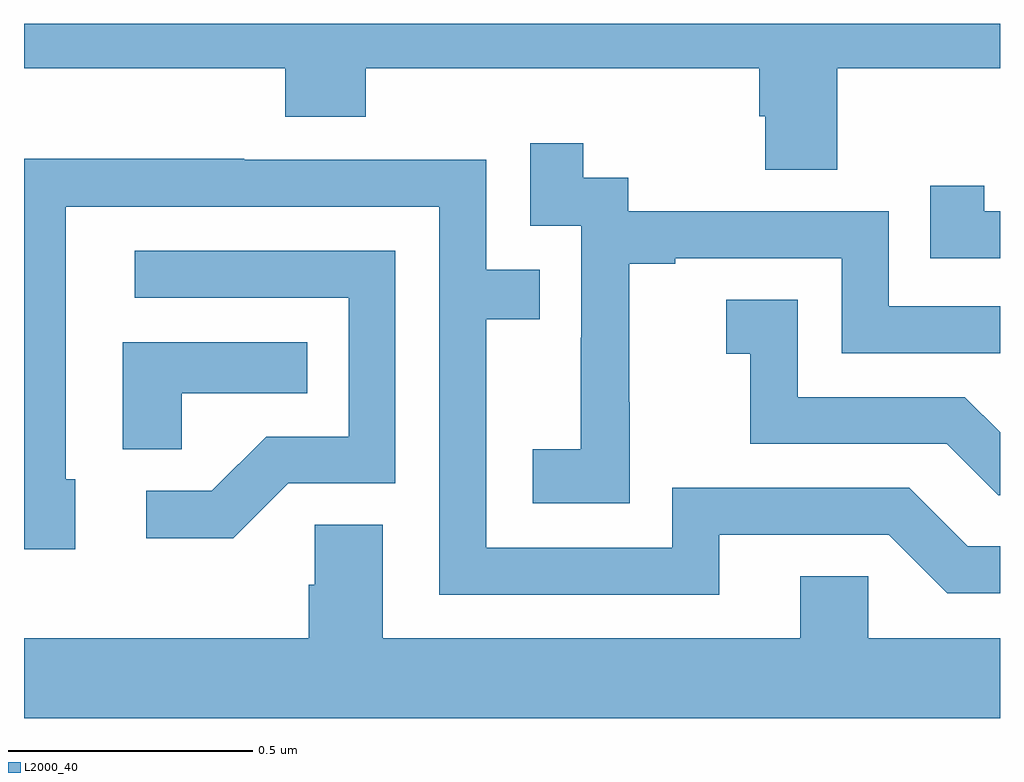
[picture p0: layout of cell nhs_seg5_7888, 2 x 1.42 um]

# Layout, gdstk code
import gdstk
lib = gdstk.Library(unit=1e-6, precision=1e-09)
def P(c, l, *ps):  # polygons
    for p in ps: c.add(gdstk.Polygon(p, *l))
L2000_40 = (2000, 40)

nhs_seg5_7888 = lib.new_cell('nhs_seg5_7888')
P(nhs_seg5_7888, L2000_40, [(215.667,908.708),(216,908.708),(216,908.799),(214,908.799),(214,908.708),(214.535,908.708),(214.535,908.609),(214.7,908.609),(214.7,908.708),(215.507,908.708),(215.507,908.61),(215.519,908.61),(215.519,908.5),(215.667,908.5)],
  [(215.241,908.023),(215.24,908.023),(215.24,908.307),(215.335,908.307),(215.335,908.319),(215.676,908.319),(215.676,908.124),(216,908.124),(216,908.22),(215.772,908.22),(215.772,908.415),(215.238,908.415),(215.238,908.484),(215.146,908.484),(215.146,908.554),(215.037,908.554),(215.037,908.385),(215.142,908.385),(215.142,908.156),(215.141,908.156),(215.141,907.927),(215.043,907.927),(215.043,907.817),(215.241,907.817)],
  [(215.425,907.752),(215.772,907.752),(215.892,907.632),(216,907.632),(216,907.728),(215.934,907.728),(215.814,907.848),(215.328,907.848),(215.328,907.725),(214.947,907.725),(214.947,908.194),(215.057,908.194),(215.057,908.295),(214.947,908.295),(214.947,908.52),(214.451,908.52),(214.451,908.522),(214,908.522),(214,907.722),(214.105,907.722),(214.105,907.866),(214.086,907.866),(214.086,908.424),(214.851,908.424),(214.851,907.629),(215.425,907.629)],
  [(216,908.415),(215.968,908.415),(215.968,908.467),(215.857,908.467),(215.857,908.319),(216,908.319)],
  [(214.542,907.857),(214.761,907.857),(214.761,908.334),(214.227,908.334),(214.227,908.238),(214.665,908.238),(214.665,907.953),(214.496,907.953),(214.385,907.842),(214.251,907.842),(214.251,907.745),(214.429,907.745)],
  [(216,907.962),(215.928,908.034),(215.586,908.034),(215.586,908.233),(215.439,908.233),(215.439,908.123),(215.488,908.123),(215.488,907.938),(215.891,907.938),(215.996,907.833),(216,907.833)],
  [(214.323,908.042),(214.58,908.042),(214.58,908.146),(214.202,908.146),(214.202,907.927),(214.323,907.927)],
  [(216,907.54),(215.73,907.54),(215.73,907.667),(215.591,907.667),(215.591,907.54),(214.735,907.54),(214.735,907.772),(214.596,907.772),(214.596,907.649),(214.583,907.649),(214.583,907.54),(214,907.54),(214,907.376),(216,907.376)])

lib.write_gds('nhs_seg5_7888.gds')
